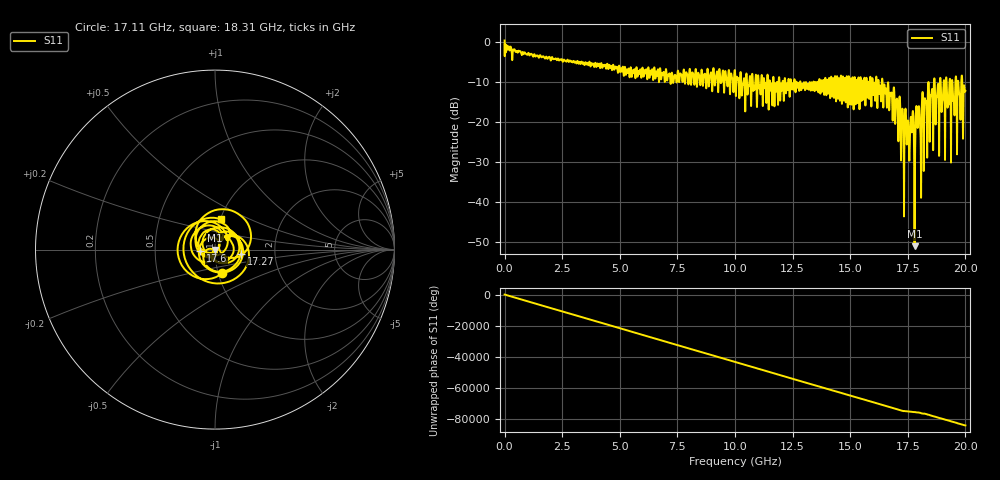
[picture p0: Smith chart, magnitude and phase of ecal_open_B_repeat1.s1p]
! MS46122B
! 2250307/22442219
! 7/22/2025 3:22:10 PM
! C:\USERS\SPARKY\DOCUMENTS\VNA_DATA\JULY22_2025\295\ECAL_OPEN_B_REPEAT1.S1P
! CHANNEL.1
! TR.MEASUREMENT
! RAW.DATA
# GHZ S RI R 50.0
! FREQ.GHZ  S11RE  S11IM
!; PortSelection: Port_1
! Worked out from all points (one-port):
!   10001 points, 1 MHz to 20 GHz, reference 50 ohm
!   lowest |S11| = -51.1 dB at 17.79 GHz (marker M1), VSWR 1.01, Z = 50 - j0.279 ohm
!   |S11| at or under -10 dB: 12.84 GHz to 13.4 GHz (563.4 MHz wide, 4.29 % of centre); 16.4 GHz to 18.4 GHz (1.991 GHz wide, 11.4 % of centre); 18.4 GHz to 18.64 GHz (237.2 MHz wide, 1.28 % of centre) (the widest 3 of 89)
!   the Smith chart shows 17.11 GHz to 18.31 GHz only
!   S11 on the Smith chart (normalised r, x): 17.11 GHz: 1.04, -0.28; 17.27 GHz: 1.34, -0.06; 17.6 GHz: 0.85, -0.01; 18.31 GHz: 1.01, +0.35
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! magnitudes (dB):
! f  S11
! 1 MHz  0.4
! 2.501 GHz  -4.5
! 5.001 GHz  -7.0
! 7.501 GHz  -8.0
! 10 GHz  -7.4
! 11.54 GHz  -12.1
! 12.5 GHz  -10.3
! 15 GHz  -11.4
! 16.31 GHz  -11.2
! 16.96 GHz  -18.6
! 17.11 GHz  -17.2
! 17.21 GHz  -26.2
! 17.27 GHz  -16.7
! 17.5 GHz  -19.6
! 17.6 GHz  -21.8
! 17.67 GHz  -22.6
! 17.79 GHz  -51.1
! 17.86 GHz  -16.5
! 17.93 GHz  -21.5
! 18 GHz  -16.6
! 18.11 GHz  -15.0
! 18.2 GHz  -27.7
! 18.27 GHz  -15.0
! 18.31 GHz  -15.3
! 18.99 GHz  -15.3
! 19.45 GHz  -12.3
! 19.51 GHz  -15.0
! 20 GHz  -12.2
